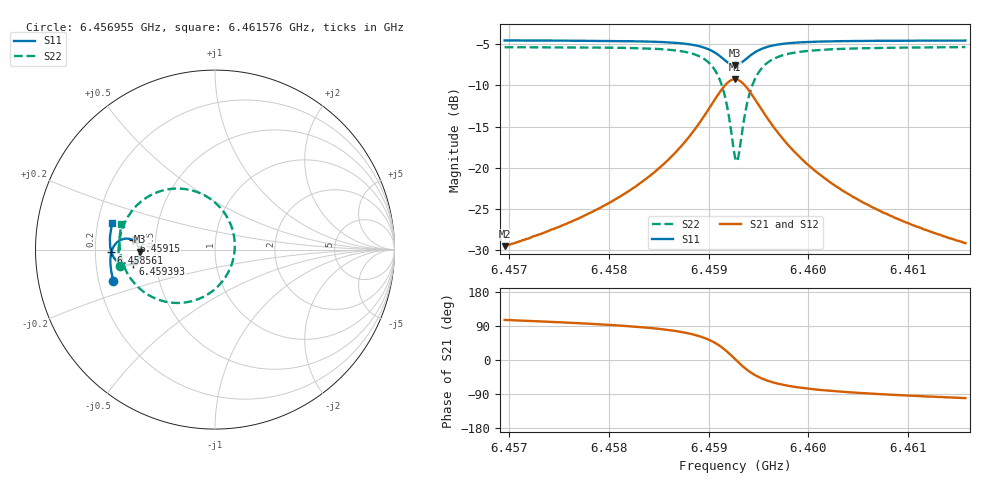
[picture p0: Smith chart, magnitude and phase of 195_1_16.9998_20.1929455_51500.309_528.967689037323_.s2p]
#  HZ  S  RI  R  50.00
! Rohde & Schwarz Vector Network Analyzer
! Rohde-Schwarz,ZNB20-2Port,1311601062101988,3.16
! Created: UTC 3/20/2024, 11:00:49 PM
! freq[Hz]  re:S11  im:S11  re:S21  im:S21  re:S12  im:S12  re:S22  im:S22
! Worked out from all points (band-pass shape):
!   401 points, 6.456955 GHz to 6.461576 GHz, reference 50 ohm
!   highest |S21| = -9.25 dB at 6.459265 GHz (marker M1); lowest = -29.5 dB at 6.456955 GHz (marker M2)
!   |S21| within 3 dB of the highest: 6.459035 GHz to 6.459496 GHz (461.6 kHz wide, 0.00715 % of centre)
!   lowest |S11| = -7.6 dB at 6.459265 GHz (marker M3), VSWR 2.44, Z = 20.5 - j0.599 ohm
!   |S11| at or under -10 dB: nowhere
!   |S22| runs from -19.2 to -5.4 dB; largest |S21 - S12| = 0.013
!   S11 on the Smith chart (normalised r, x): 6.456955 GHz: 0.26, -0.14; 6.458561 GHz: 0.27, -0.01; 6.45915 GHz: 0.37, +0.05; 6.459393 GHz: 0.37, -0.07; 6.461576 GHz: 0.26, +0.12
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6.4569554e9  -0.5657 -0.1751  -0.00915 0.0323  -0.00729 0.0322  -0.531 -0.0894
6.4577293e9  -0.5801 -0.1075  -0.00582 0.0502  -0.00333 0.0496  -0.5372 0.00086
6.4581336e9  -0.5833 -0.0673  -0.000577 0.0683  0.00265 0.067  -0.5305 0.064
6.4585032e9  -0.5796 -0.0234  0.0135 0.0985  0.0175 0.0958  -0.5048 0.1462
6.4585609e9  -0.578 -0.0157  0.0179 0.1054  0.022 0.1023  -0.4967 0.1628
6.4587688e9  -0.565 0.0167  0.0451 0.1378  0.0492 0.133  -0.4459 0.2358
6.458919e9  -0.5425 0.0431  0.0901 0.1686  0.0935 0.162  -0.3629 0.3006
6.4590576e9  -0.4987 0.0609  0.1772 0.1855  0.1781 0.1783  -0.2043 0.3404
6.45915e9  -0.4541 0.0508  0.2671 0.1547  0.2673 0.1488  -0.038 0.2907
6.4592193e9  -0.425 0.0189  0.3277 0.0831  0.3299 0.0778  0.0776 0.1622
6.4592655e9  -0.4181 -0.0121  0.3443 0.0154  0.3478 0.00856  0.1101 0.0357
6.4592771e9  -0.4186 -0.0201  0.3441 -0.00234  0.3479 -0.00994  0.1099 0.00218
6.4593002e9  -0.422 -0.0357  0.3387 -0.037  0.3424 -0.0459  0.099 -0.0633
6.4593464e9  -0.4375 -0.0618  0.3102 -0.0968  0.3125 -0.1085  0.0418 -0.1762
6.4593926e9  -0.4595 -0.078  0.2685 -0.1378  0.2677 -0.151  -0.0425 -0.2509
6.459485e9  -0.5029 -0.0849  0.1841 -0.1689  0.178 -0.1805  -0.2104 -0.2974
6.4596351e9  -0.5466 -0.0644  0.0965 -0.1557  0.0881 -0.1618  -0.3774 -0.2489
6.4597968e9  -0.5682 -0.0368  0.0518 -0.128  0.0441 -0.1307  -0.4576 -0.1773
6.4600394e9  -0.581 -0.00137  0.0225 -0.0967  0.0168 -0.0973  -0.5056 -0.0954
6.4603743e9  -0.5856 0.0385  0.0068 -0.0709  0.0027 -0.0704  -0.5271 -0.0187
6.4608132e9  -0.5838 0.0826  -0.00122 -0.0516  -0.00397 -0.0508  -0.532 0.0515
6.4615756e9  -0.5718 0.1501  -0.00642 -0.0344  -0.00809 -0.0336  -0.5211 0.1414
